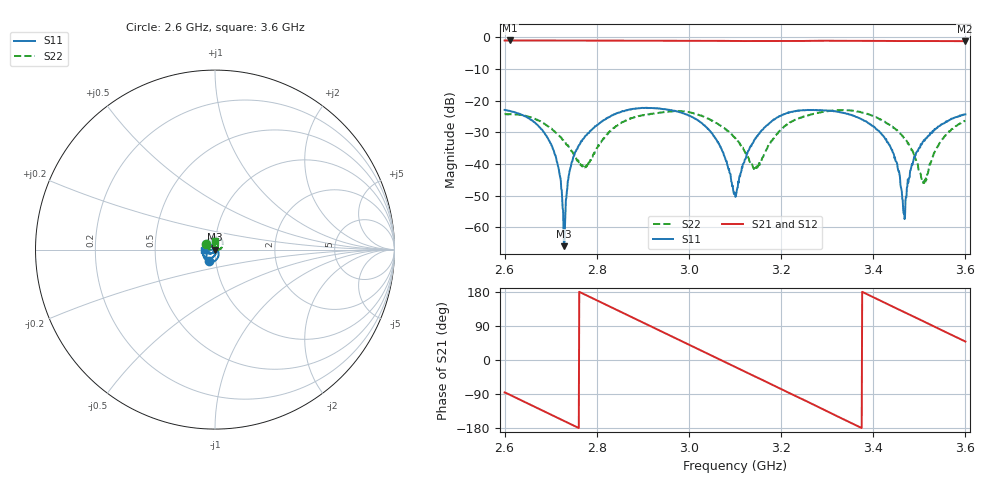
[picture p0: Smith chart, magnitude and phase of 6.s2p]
#  HZ  S  DB  R  50.00
! Rohde & Schwarz Vector Network Analyzer
! Rohde-Schwarz,ZNB8-2Port,1311601042101540,3.40
! Created: UTC 6/27/2024, 1:53:15 PM
! freq[Hz]  db:S11  ang:S11  db:S21  ang:S21  db:S12  ang:S12  db:S22  ang:S22
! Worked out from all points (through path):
!   1001 points, 2.6 GHz to 3.6 GHz, reference 50 ohm
!   highest |S21| = -1.01 dB at 2.612 GHz (marker M1); lowest = -1.2 dB at 3.599 GHz (marker M2)
!   group delay of S21, straight-line fit = 1.63 ns
!   lowest |S11| = -65.9 dB at 2.729 GHz (marker M3), VSWR 1.00, Z = 50 + j0.0503 ohm
!   |S11| at or under -10 dB: start of sweep to end of sweep
!   |S22| runs from -46.0 to -23.0 dB; largest |S21 - S12| = 0.032
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2.6e9  -22.93 -118.1  -1.03 -85.7  -1.08 -86.0  -24.29 146.2
2.612e9  -23.28 -127.1  -1.01 -92.2  -1.07 -93.2  -24.30 139.8
2.698e9  -32.90 -174.5  -1.02 -142.6  -1.06 -143.7  -28.46 101.2
2.717e9  -41.27 172.2  -1.03 -153.8  -1.07 -154.9  -30.92 93.0
2.729e9  -65.93 84.5  -1.03 -160.8  -1.07 -161.9  -32.82 91.1
2.744e9  -40.66 -18.3  -1.04 -169.6  -1.07 -170.7  -35.68 90.9
2.767e9  -32.82 -36.9  -1.06 176.9  -1.07 175.8  -40.49 117.2
2.858e9  -23.32 -99.2  -1.09 123.6  -1.06 122.4  -26.67 168.6
2.934e9  -22.49 -144.1  -1.07 79.1  -1.10 77.9  -23.87 132.8
3.043e9  -29.14 151.2  -1.12 14.8  -1.12 14.5  -25.74 75.1
3.1e9  -49.28 40.0  -1.18 -18.5  -1.11 -19.1  -31.66 51.4
3.145e9  -31.70 -85.3  -1.19 -44.4  -1.08 -45.5  -41.87 98.6
3.202e9  -24.52 -123.6  -1.16 -77.8  -1.07 -79.6  -28.79 147.3
3.267e9  -22.98 -158.8  -1.14 -115.7  -1.27 -117.2  -24.31 115.3
3.352e9  -24.48 149.3  -1.14 -166.1  -1.19 -166.0  -23.12 66.5
3.434e9  -33.89 111.6  -1.18 145.8  -1.19 146.0  -27.52 21.1
3.467e9  -55.18 175.9  -1.20 126.5  -1.20 126.7  -31.76 3.3
3.485e9  -40.27 -117.3  -1.21 116.1  -1.20 116.1  -35.74 -1.1
3.511e9  -32.61 -127.1  -1.20 100.9  -1.19 100.9  -45.87 59.5
3.547e9  -27.66 -150.5  -1.20 79.7  -1.19 79.7  -32.80 112.8
3.599e9  -24.38 -175.9  -1.24 49.3  -1.23 49.1  -26.39 93.5
3.6e9  -24.36 -176.3  -1.23 48.7  -1.23 48.5  -26.32 92.9
